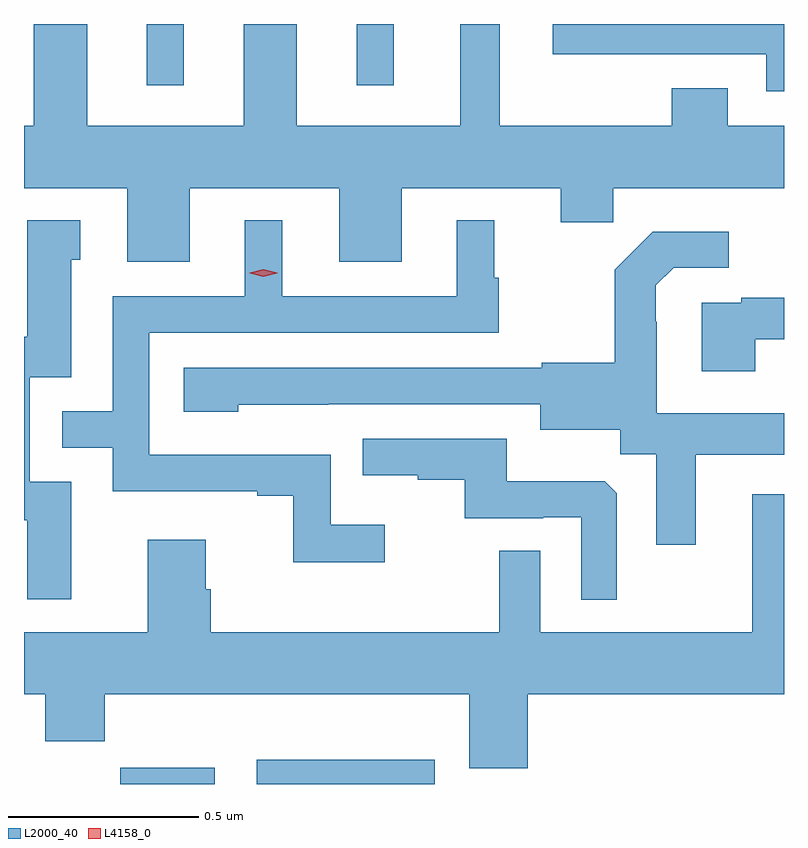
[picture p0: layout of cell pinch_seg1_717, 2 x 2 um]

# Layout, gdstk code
import gdstk
lib = gdstk.Library(unit=1e-6, precision=1e-09)
def R(c, l, rs):  # rectangles x0, y0, x1, y1
    for r in rs: c.add(gdstk.rectangle(r[:2], r[2:], *l))
def P(c, l, *ps):  # polygons
    for p in ps: c.add(gdstk.Polygon(p, *l))
L2000_40 = (2000, 40)
L4158_0 = (4158, 0)

pinch_seg1_717 = lib.new_cell('pinch_seg1_717')
R(pinch_seg1_717, L2000_40, [(753.862,571.476,754.111,571.519), (754.221,571.476,754.69,571.54), (753.932,573.315,754.03,573.476), (754.484,573.315,754.582,573.476)])
P(pinch_seg1_717, L2000_40, [(754.045,573.044),(754.439,573.044),(754.439,572.85),(754.603,572.85),(754.603,573.044),(755.021,573.044),(755.021,572.954),(755.159,572.954),(755.159,573.044),(755.609,573.044),(755.609,573.208),(755.461,573.208),(755.461,573.307),(755.314,573.307),(755.314,573.208),(754.861,573.208),(754.861,573.476),(754.757,573.476),(754.757,573.208),(754.327,573.208),(754.327,573.476),(754.187,573.476),(754.187,573.208),(753.775,573.208),(753.775,573.476),(753.635,573.476),(753.635,573.208),(753.609,573.208),(753.609,573.044),(753.881,573.044),(753.881,572.85),(754.045,572.85)],
  [(755.609,573.476),(755.001,573.476),(755.001,573.396),(755.562,573.396),(755.562,573.299),(755.609,573.299)],
  [(754.558,572.158),(754.416,572.158),(754.416,572.343),(753.939,572.343),(753.939,572.664),(754.858,572.664),(754.858,572.808),(754.846,572.808),(754.846,572.959),(754.748,572.959),(754.748,572.76),(754.288,572.76),(754.288,572.959),(754.19,572.959),(754.19,572.76),(753.843,572.76),(753.843,572.457),(753.709,572.457),(753.709,572.361),(753.843,572.361),(753.843,572.247),(754.223,572.247),(754.223,572.235),(754.318,572.235),(754.318,572.06),(754.558,572.06)],
  [(753.733,572.271),(753.624,572.271),(753.624,572.547),(753.733,572.547),(753.733,572.856),(753.757,572.856),(753.757,572.959),(753.617,572.959),(753.617,572.653),(753.609,572.653),(753.609,572.17),(753.617,572.17),(753.617,571.962),(753.733,571.962)],
  [(755.377,572.342),(755.609,572.342),(755.609,572.452),(755.274,572.452),(755.274,572.693),(755.272,572.693),(755.272,572.788),(755.319,572.835),(755.464,572.835),(755.464,572.929),(755.263,572.929),(755.163,572.829),(755.163,572.584),(754.971,572.584),(754.971,572.571),(754.029,572.571),(754.029,572.456),(754.173,572.456),(754.173,572.474),(754.409,572.474),(754.409,572.475),(754.967,572.475),(754.967,572.408),(755.178,572.408),(755.178,572.344),(755.273,572.344),(755.273,572.106),(755.377,572.106)],
  [(755.533,572.646),(755.609,572.646),(755.609,572.755),(755.497,572.755),(755.497,572.742),(755.393,572.742),(755.393,572.562),(755.533,572.562)],
  [(755.169,572.241),(755.137,572.273),(754.879,572.273),(754.879,572.385),(754.501,572.385),(754.501,572.288),(754.645,572.288),(754.645,572.277),(754.769,572.277),(754.769,572.175),(754.976,572.175),(754.976,572.178),(755.076,572.178),(755.076,571.961),(755.169,571.961)],
  [(754.934,571.712),(755.609,571.712),(755.609,572.239),(755.525,572.239),(755.525,571.876),(754.968,571.876),(754.968,572.09),(754.86,572.09),(754.86,571.876),(754.1,571.876),(754.1,571.989),(754.087,571.989),(754.087,572.119),(753.935,572.119),(753.935,571.876),(753.609,571.876),(753.609,571.712),(753.665,571.712),(753.665,571.588),(753.821,571.588),(753.821,571.712),(754.781,571.712),(754.781,571.518),(754.934,571.518)])
P(pinch_seg1_717, L4158_0, [(754.239,572.811),(754.203,572.82),(754.203,572.821),(754.203,572.821),(754.239,572.831),(754.275,572.821),(754.275,572.821),(754.275,572.82)])

lib.write_gds('pinch_seg1_717.gds')
